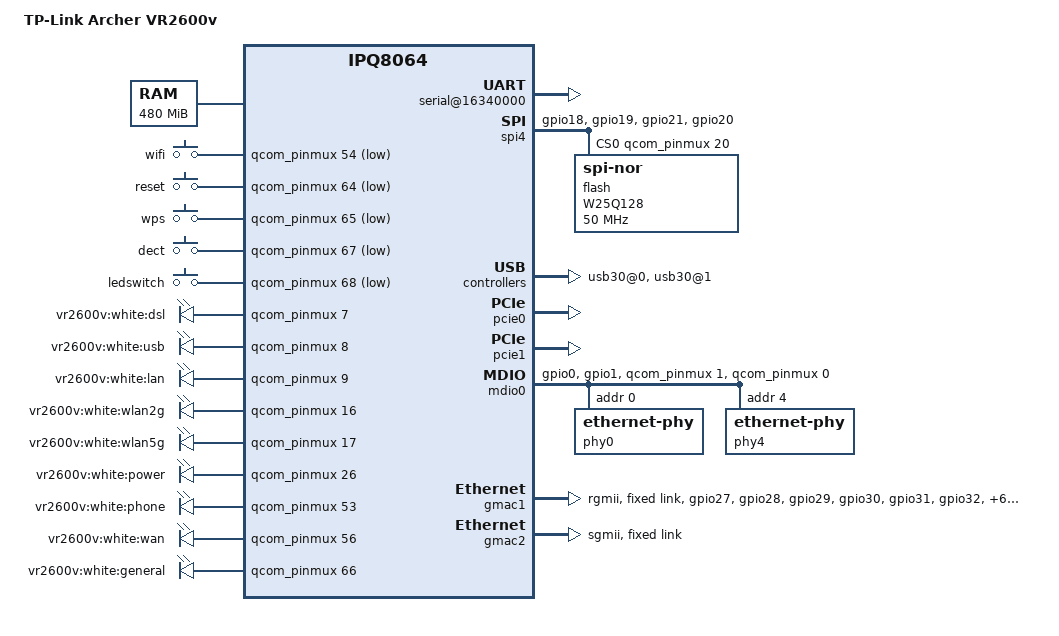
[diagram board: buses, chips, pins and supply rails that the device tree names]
#include "qcom-ipq8064-v1.0.dtsi"

#include <dt-bindings/input/input.h>

/ {
	model = "TP-Link Archer VR2600v";
	compatible = "tplink,vr2600v", "qcom,ipq8064";

	memory@0 {
		reg = <0x42000000 0x1e000000>;
		device_type = "memory";
	};

	reserved-memory {
		#address-cells = <1>;
		#size-cells = <1>;
		ranges;
		rsvd@41200000 {
			reg = <0x41200000 0x300000>;
			no-map;
		};
	};

	aliases {
		serial0 = &gsbi4_serial;
		mdio-gpio0 = &mdio0;

		led-boot = &power;
		led-failsafe = &general;
		led-running = &power;
		led-upgrade = &general;
	};

	chosen {
		linux,stdout-path = "serial0:115200n8";
	};

	soc {
		pinmux@800000 {
			led_pins: led_pins {
				mux {
					pins = "gpio7", "gpio8", "gpio9", "gpio16", "gpio17",
						"gpio26", "gpio53", "gpio56", "gpio66";
					function = "gpio";
					drive-strength = <2>;
					bias-pull-up;
				};
			};

			i2c4_pins: i2c4_pinmux {
				mux {
					pins = "gpio12", "gpio13";
					function = "gsbi4";
					drive-strength = <12>;
					bias-disable;
				};
			};

			button_pins: button_pins {
				mux {
					pins = "gpio54", "gpio64", "gpio65", "gpio67", "gpio68";
					function = "gpio";
					drive-strength = <2>;
					bias-pull-up;
				};
			};

			spi_pins: spi_pins {
				mux {
					pins = "gpio18", "gpio19", "gpio21";
					function = "gsbi5";
					bias-pull-down;
				};

				data {
					pins = "gpio18", "gpio19";
					drive-strength = <10>;
				};

				cs {
					pins = "gpio20";
					drive-strength = <10>;
					bias-pull-up;
				};

				clk {
					pins = "gpio21";
					drive-strength = <12>;
				};
			};

			mdio0_pins: mdio0_pins {
				mux {
					pins = "gpio0", "gpio1";
					function = "gpio";
					drive-strength = <8>;
					bias-disable;
				};
			};

			rgmii2_pins: rgmii2_pins {
				mux {
					pins = "gpio27", "gpio28", "gpio29", "gpio30", "gpio31", "gpio32",
					       "gpio51", "gpio52", "gpio59", "gpio60", "gpio61", "gpio62" ;
					function = "rgmii2";
					drive-strength = <8>;
					bias-disable;
				};
			};
		};

		gsbi@16300000 {
			qcom,mode = <GSBI_PROT_I2C_UART>;
			status = "ok";
			serial@16340000 {
				status = "ok";
			};
			/*
			 * The i2c device on gsbi4 should not be enabled.
			 * On ipq806x designs gsbi4 i2c is meant for exclusive
			 * RPM usage. Turning this on in kernel manifests as
			 * i2c failure for the RPM.
			 */
		};

		gsbi5: gsbi@1a200000 {
			qcom,mode = <GSBI_PROT_SPI>;
			status = "ok";

			spi4: spi@1a280000 {
				status = "ok";

				pinctrl-0 = <&spi_pins>;
				pinctrl-names = "default";

				cs-gpios = <&qcom_pinmux 20 GPIO_ACTIVE_HIGH>;

				flash: W25Q128@0 {
					compatible = "jedec,spi-nor";
					#address-cells = <1>;
					#size-cells = <1>;
					spi-max-frequency = <50000000>;
					reg = <0>;

					SBL1@0 {
						label = "SBL1";
						reg = <0x0 0x20000>;
						read-only;
					};

					MIBIB@20000 {
						label = "MIBIB";
						reg = <0x20000 0x20000>;
						read-only;
					};

					SBL2@40000 {
						label = "SBL2";
						reg = <0x40000 0x40000>;
						read-only;
					};

					SBL3@80000 {
						label = "SBL3";
						reg = <0x80000 0x80000>;
						read-only;
					};

					DDRCONFIG@100000 {
						label = "DDRCONFIG";
						reg = <0x100000 0x10000>;
						read-only;
					};

					SSD@110000 {
						label = "SSD";
						reg = <0x110000 0x10000>;
						read-only;
					};

					TZ@120000 {
						label = "TZ";
						reg = <0x120000 0x80000>;
						read-only;
					};

					RPM@1a0000 {
						label = "RPM";
						reg = <0x1a0000 0x80000>;
						read-only;
					};

					APPSBL@220000 {
						label = "APPSBL";
						reg = <0x220000 0x80000>;
						read-only;
					};

					APPSBLENV@2a0000 {
						label = "APPSBLENV";
						reg = <0x2a0000 0x40000>;
						read-only;
					};

					OLDART@2e0000 {
						label = "OLDART";
						reg = <0x2e0000 0x40000>;
						read-only;
					};

					kernel@320000 {
						label = "kernel";
						reg = <0x320000 0x200000>;
					};

					rootfs@520000 {
						label = "rootfs";
						reg = <0x520000 0xa60000>;
					};

					defaultmac: default-mac@0xfaf100 {
						label = "default-mac";
						reg = <0xfaf100 0x00200>;
						read-only;
					};

					ART@fc0000 {
						label = "ART";
						reg = <0xfc0000 0x40000>;
						read-only;
					};
				};
			};
		};

		phy@100f8800 {		/* USB3 port 1 HS phy */
			status = "ok";
		};

		phy@100f8830 {		/* USB3 port 1 SS phy */
			status = "ok";
		};

		phy@110f8800 {		/* USB3 port 0 HS phy */
			status = "ok";
		};

		phy@110f8830 {		/* USB3 port 0 SS phy */
			status = "ok";
		};

		usb30@0 {
			status = "ok";
		};

		usb30@1 {
			status = "ok";
		};

		pcie0: pci@1b500000 {
			status = "ok";
			phy-tx0-term-offset = <7>;
		};

		pcie1: pci@1b700000 {
			status = "ok";
			phy-tx0-term-offset = <7>;
		};

		mdio0: mdio {
			compatible = "virtual,mdio-gpio";
			#address-cells = <1>;
			#size-cells = <0>;
			gpios = <&qcom_pinmux 1 GPIO_ACTIVE_HIGH &qcom_pinmux 0 GPIO_ACTIVE_HIGH>;
			pinctrl-0 = <&mdio0_pins>;
			pinctrl-names = "default";

			phy0: ethernet-phy@0 {
				device_type = "ethernet-phy";
				reg = <0>;
				qca,ar8327-initvals = <
					0x00004 0x7600000   /* PAD0_MODE */
					0x00008 0x1000000   /* PAD5_MODE */
					0x0000c 0x80        /* PAD6_MODE */
					0x000e4 0x6a545     /* MAC_POWER_SEL */
					0x000e0 0xc74164de  /* SGMII_CTRL */
					0x0007c 0x4e        /* PORT0_STATUS */
					0x00094 0x4e        /* PORT6_STATUS */
					>;
			};

			phy4: ethernet-phy@4 {
				device_type = "ethernet-phy";
				reg = <4>;
			};
		};

		gmac1: ethernet@37200000 {
			status = "ok";
			phy-mode = "rgmii";
			qcom,id = <1>;

			pinctrl-0 = <&rgmii2_pins>;
			pinctrl-names = "default";

			mtd-mac-address = <&defaultmac 0>;
			mtd-mac-address-increment = <1>;

			fixed-link {
				speed = <1000>;
				full-duplex;
			};
		};

		gmac2: ethernet@37400000 {
			status = "ok";
			phy-mode = "sgmii";
			qcom,id = <2>;

			mtd-mac-address = <&defaultmac 0>;

			fixed-link {
				speed = <1000>;
				full-duplex;
			};
		};

		rpm@108000 {
			pinctrl-0 = <&i2c4_pins>;
			pinctrl-names = "default";
		};
	};

	gpio-keys {
		compatible = "gpio-keys";
		pinctrl-0 = <&button_pins>;
		pinctrl-names = "default";

		wifi {
			label = "wifi";
			gpios = <&qcom_pinmux 54 GPIO_ACTIVE_LOW>;
			linux,code = <KEY_RFKILL>;
		};

		reset {
			label = "reset";
			gpios = <&qcom_pinmux 64 GPIO_ACTIVE_LOW>;
			linux,code = <KEY_RESTART>;
		};

		wps {
			label = "wps";
			gpios = <&qcom_pinmux 65 GPIO_ACTIVE_LOW>;
			linux,code = <KEY_WPS_BUTTON>;
		};

		dect {
			label = "dect";
			gpios = <&qcom_pinmux 67 GPIO_ACTIVE_LOW>;
			linux,code = <KEY_PHONE>;
		};

		ledswitch {
			label = "ledswitch";
			gpios = <&qcom_pinmux 68 GPIO_ACTIVE_LOW>;
			linux,code = <KEY_LIGHTS_TOGGLE>;
		};
	};

	gpio-leds {
		compatible = "gpio-leds";
		pinctrl-0 = <&led_pins>;
		pinctrl-names = "default";

		dsl {
			label = "vr2600v:white:dsl";
			gpios = <&qcom_pinmux 7 GPIO_ACTIVE_HIGH>;
		};

		usb {
			label = "vr2600v:white:usb";
			gpios = <&qcom_pinmux 8 GPIO_ACTIVE_HIGH>;
		};

		lan {
			label = "vr2600v:white:lan";
			gpios = <&qcom_pinmux 9 GPIO_ACTIVE_HIGH>;
		};

		wlan2g {
			label = "vr2600v:white:wlan2g";
			gpios = <&qcom_pinmux 16 GPIO_ACTIVE_HIGH>;
		};

		wlan5g {
			label = "vr2600v:white:wlan5g";
			gpios = <&qcom_pinmux 17 GPIO_ACTIVE_HIGH>;
		};

		power: power {
			label = "vr2600v:white:power";
			gpios = <&qcom_pinmux 26 GPIO_ACTIVE_HIGH>;
			default-state = "keep";
		};

		phone {
			label = "vr2600v:white:phone";
			gpios = <&qcom_pinmux 53 GPIO_ACTIVE_HIGH>;
		};

		wan {
			label = "vr2600v:white:wan";
			gpios = <&qcom_pinmux 56 GPIO_ACTIVE_HIGH>;
		};

		general: general {
			label = "vr2600v:white:general";
			gpios = <&qcom_pinmux 66 GPIO_ACTIVE_HIGH>;
		};
	};
};

&adm_dma {
	status = "ok";
};
